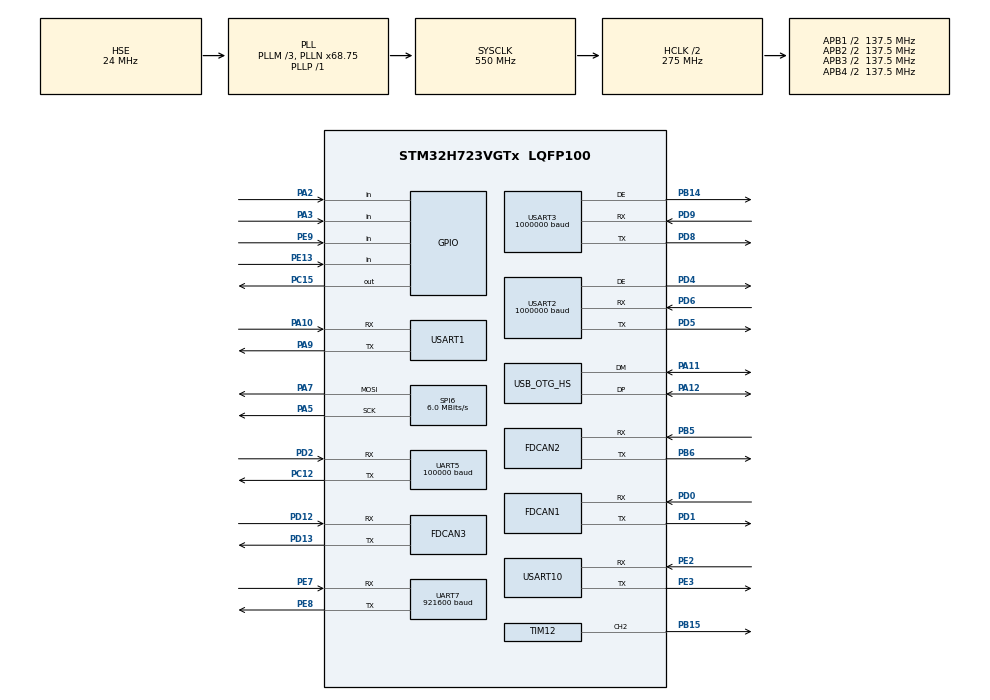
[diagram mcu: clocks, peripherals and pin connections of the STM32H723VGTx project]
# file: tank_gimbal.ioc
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CORTEX_M7.CPU_ICache=Enabled
CORTEX_M7.Enable_Spec=MPU_REGION_ENABLE
CORTEX_M7.MPU_Control=__NULL
CORTEX_M7.default_mode_Activation=1
Dma.Request0=UART5_RX
Dma.Request1=UART7_RX
Dma.Request10=USART3_TX
Dma.Request2=UART7_TX
Dma.Request3=USART1_RX
Dma.Request4=USART1_TX
Dma.Request5=USART10_RX
Dma.Request6=USART10_TX
Dma.Request7=USART2_RX
Dma.Request8=USART2_TX
Dma.Request9=USART3_RX
Dma.UART5_RX.0.Direction=DMA_PERIPH_TO_MEMORY
Dma.UART5_RX.0.EventEnable=DISABLE
Dma.UART5_RX.0.FIFOMode=DMA_FIFOMODE_DISABLE
Dma.UART5_RX.0.Instance=DMA1_Stream0
Dma.UART5_RX.0.MemDataAlignment=DMA_MDATAALIGN_BYTE
Dma.UART5_RX.0.MemInc=DMA_MINC_ENABLE
Dma.UART5_RX.0.Mode=DMA_NORMAL
Dma.UART5_RX.0.PeriphDataAlignment=DMA_PDATAALIGN_BYTE
Dma.UART5_RX.0.PeriphInc=DMA_PINC_DISABLE
Dma.UART5_RX.0.Polarity=HAL_DMAMUX_REQ_GEN_RISING
Dma.UART5_RX.0.Priority=DMA_PRIORITY_LOW
Dma.UART5_RX.0.RequestNumber=1
Dma.UART5_RX.0.SignalID=NONE
Dma.UART5_RX.0.SyncEnable=DISABLE
Dma.UART5_RX.0.SyncPolarity=HAL_DMAMUX_SYNC_NO_EVENT
Dma.UART5_RX.0.SyncRequestNumber=1
Dma.UART5_RX.0.SyncSignalID=NONE
Dma.UART7_RX.1.Direction=DMA_PERIPH_TO_MEMORY
Dma.UART7_RX.1.EventEnable=DISABLE
Dma.UART7_RX.1.FIFOMode=DMA_FIFOMODE_DISABLE
Dma.UART7_RX.1.Instance=DMA1_Stream1
Dma.UART7_RX.1.MemDataAlignment=DMA_MDATAALIGN_BYTE
Dma.UART7_RX.1.MemInc=DMA_MINC_ENABLE
Dma.UART7_RX.1.Mode=DMA_CIRCULAR
Dma.UART7_RX.1.PeriphDataAlignment=DMA_PDATAALIGN_BYTE
Dma.UART7_RX.1.PeriphInc=DMA_PINC_DISABLE
Dma.UART7_RX.1.Polarity=HAL_DMAMUX_REQ_GEN_RISING
Dma.UART7_RX.1.Priority=DMA_PRIORITY_LOW
Dma.UART7_RX.1.RequestNumber=1
Dma.UART7_RX.1.SignalID=NONE
Dma.UART7_RX.1.SyncEnable=DISABLE
Dma.UART7_RX.1.SyncPolarity=HAL_DMAMUX_SYNC_NO_EVENT
Dma.UART7_RX.1.SyncRequestNumber=1
Dma.UART7_RX.1.SyncSignalID=NONE
Dma.UART7_TX.2.Direction=DMA_MEMORY_TO_PERIPH
Dma.UART7_TX.2.EventEnable=DISABLE
Dma.UART7_TX.2.FIFOMode=DMA_FIFOMODE_DISABLE
Dma.UART7_TX.2.Instance=DMA1_Stream2
Dma.UART7_TX.2.MemDataAlignment=DMA_MDATAALIGN_BYTE
Dma.UART7_TX.2.MemInc=DMA_MINC_ENABLE
Dma.UART7_TX.2.Mode=DMA_NORMAL
Dma.UART7_TX.2.PeriphDataAlignment=DMA_PDATAALIGN_BYTE
Dma.UART7_TX.2.PeriphInc=DMA_PINC_DISABLE
Dma.UART7_TX.2.Polarity=HAL_DMAMUX_REQ_GEN_RISING
Dma.UART7_TX.2.Priority=DMA_PRIORITY_LOW
Dma.UART7_TX.2.RequestNumber=1
Dma.UART7_TX.2.SignalID=NONE
Dma.UART7_TX.2.SyncEnable=DISABLE
Dma.UART7_TX.2.SyncPolarity=HAL_DMAMUX_SYNC_NO_EVENT
Dma.UART7_TX.2.SyncRequestNumber=1
Dma.UART7_TX.2.SyncSignalID=NONE
Dma.USART10_RX.5.Direction=DMA_PERIPH_TO_MEMORY
Dma.USART10_RX.5.EventEnable=DISABLE
Dma.USART10_RX.5.FIFOMode=DMA_FIFOMODE_DISABLE
Dma.USART10_RX.5.Instance=DMA1_Stream5
Dma.USART10_RX.5.MemDataAlignment=DMA_MDATAALIGN_BYTE
Dma.USART10_RX.5.MemInc=DMA_MINC_ENABLE
Dma.USART10_RX.5.Mode=DMA_NORMAL
Dma.USART10_RX.5.PeriphDataAlignment=DMA_PDATAALIGN_BYTE
Dma.USART10_RX.5.PeriphInc=DMA_PINC_DISABLE
Dma.USART10_RX.5.Polarity=HAL_DMAMUX_REQ_GEN_RISING
Dma.USART10_RX.5.Priority=DMA_PRIORITY_LOW
Dma.USART10_RX.5.RequestNumber=1
Dma.USART10_RX.5.SignalID=NONE
Dma.USART10_RX.5.SyncEnable=DISABLE
Dma.USART10_RX.5.SyncPolarity=HAL_DMAMUX_SYNC_NO_EVENT
Dma.USART10_RX.5.SyncRequestNumber=1
Dma.USART10_RX.5.SyncSignalID=NONE
Dma.USART10_TX.6.Direction=DMA_MEMORY_TO_PERIPH
Dma.USART10_TX.6.EventEnable=DISABLE
Dma.USART10_TX.6.FIFOMode=DMA_FIFOMODE_DISABLE
Dma.USART10_TX.6.Instance=DMA1_Stream6
Dma.USART10_TX.6.MemDataAlignment=DMA_MDATAALIGN_BYTE
Dma.USART10_TX.6.MemInc=DMA_MINC_ENABLE
Dma.USART10_TX.6.Mode=DMA_NORMAL
Dma.USART10_TX.6.PeriphDataAlignment=DMA_PDATAALIGN_BYTE
Dma.USART10_TX.6.PeriphInc=DMA_PINC_DISABLE
Dma.USART10_TX.6.Polarity=HAL_DMAMUX_REQ_GEN_RISING
Dma.USART10_TX.6.Priority=DMA_PRIORITY_LOW
Dma.USART10_TX.6.RequestNumber=1
Dma.USART10_TX.6.SignalID=NONE
Dma.USART10_TX.6.SyncEnable=DISABLE
Dma.USART10_TX.6.SyncPolarity=HAL_DMAMUX_SYNC_NO_EVENT
Dma.USART10_TX.6.SyncRequestNumber=1
Dma.USART10_TX.6.SyncSignalID=NONE
Dma.USART1_RX.3.Direction=DMA_PERIPH_TO_MEMORY
Dma.USART1_RX.3.EventEnable=DISABLE
Dma.USART1_RX.3.FIFOMode=DMA_FIFOMODE_DISABLE
Dma.USART1_RX.3.Instance=DMA1_Stream3
Dma.USART1_RX.3.MemDataAlignment=DMA_MDATAALIGN_BYTE
Dma.USART1_RX.3.MemInc=DMA_MINC_ENABLE
Dma.USART1_RX.3.Mode=DMA_NORMAL
Dma.USART1_RX.3.PeriphDataAlignment=DMA_PDATAALIGN_BYTE
Dma.USART1_RX.3.PeriphInc=DMA_PINC_DISABLE
Dma.USART1_RX.3.Polarity=HAL_DMAMUX_REQ_GEN_RISING
Dma.USART1_RX.3.Priority=DMA_PRIORITY_LOW
Dma.USART1_RX.3.RequestNumber=1
Dma.USART1_RX.3.SignalID=NONE
Dma.USART1_RX.3.SyncEnable=DISABLE
Dma.USART1_RX.3.SyncPolarity=HAL_DMAMUX_SYNC_NO_EVENT
Dma.USART1_RX.3.SyncRequestNumber=1
Dma.USART1_RX.3.SyncSignalID=NONE
Dma.USART1_TX.4.Direction=DMA_MEMORY_TO_PERIPH
Dma.USART1_TX.4.EventEnable=DISABLE
Dma.USART1_TX.4.FIFOMode=DMA_FIFOMODE_DISABLE
Dma.USART1_TX.4.Instance=DMA1_Stream4
Dma.USART1_TX.4.MemDataAlignment=DMA_MDATAALIGN_BYTE
Dma.USART1_TX.4.MemInc=DMA_MINC_ENABLE
Dma.USART1_TX.4.Mode=DMA_NORMAL
Dma.USART1_TX.4.PeriphDataAlignment=DMA_PDATAALIGN_BYTE
Dma.USART1_TX.4.PeriphInc=DMA_PINC_DISABLE
Dma.USART1_TX.4.Polarity=HAL_DMAMUX_REQ_GEN_RISING
Dma.USART1_TX.4.Priority=DMA_PRIORITY_LOW
Dma.USART1_TX.4.RequestNumber=1
Dma.USART1_TX.4.SignalID=NONE
Dma.USART1_TX.4.SyncEnable=DISABLE
Dma.USART1_TX.4.SyncPolarity=HAL_DMAMUX_SYNC_NO_EVENT
Dma.USART1_TX.4.SyncRequestNumber=1
Dma.USART1_TX.4.SyncSignalID=NONE
Dma.USART2_RX.7.Direction=DMA_PERIPH_TO_MEMORY
Dma.USART2_RX.7.EventEnable=DISABLE
Dma.USART2_RX.7.FIFOMode=DMA_FIFOMODE_DISABLE
Dma.USART2_RX.7.Instance=DMA1_Stream7
Dma.USART2_RX.7.MemDataAlignment=DMA_MDATAALIGN_BYTE
Dma.USART2_RX.7.MemInc=DMA_MINC_ENABLE
Dma.USART2_RX.7.Mode=DMA_NORMAL
Dma.USART2_RX.7.PeriphDataAlignment=DMA_PDATAALIGN_BYTE
Dma.USART2_RX.7.PeriphInc=DMA_PINC_DISABLE
Dma.USART2_RX.7.Polarity=HAL_DMAMUX_REQ_GEN_RISING
Dma.USART2_RX.7.Priority=DMA_PRIORITY_LOW
Dma.USART2_RX.7.RequestNumber=1
Dma.USART2_RX.7.SignalID=NONE
Dma.USART2_RX.7.SyncEnable=DISABLE
Dma.USART2_RX.7.SyncPolarity=HAL_DMAMUX_SYNC_NO_EVENT
Dma.USART2_RX.7.SyncRequestNumber=1
Dma.USART2_RX.7.SyncSignalID=NONE
Dma.USART2_TX.8.Direction=DMA_MEMORY_TO_PERIPH
Dma.USART2_TX.8.EventEnable=DISABLE
Dma.USART2_TX.8.FIFOMode=DMA_FIFOMODE_DISABLE
Dma.USART2_TX.8.Instance=DMA2_Stream0
Dma.USART2_TX.8.MemDataAlignment=DMA_MDATAALIGN_BYTE
Dma.USART2_TX.8.MemInc=DMA_MINC_ENABLE
Dma.USART2_TX.8.Mode=DMA_NORMAL
Dma.USART2_TX.8.PeriphDataAlignment=DMA_PDATAALIGN_BYTE
Dma.USART2_TX.8.PeriphInc=DMA_PINC_DISABLE
Dma.USART2_TX.8.Polarity=HAL_DMAMUX_REQ_GEN_RISING
Dma.USART2_TX.8.Priority=DMA_PRIORITY_LOW
Dma.USART2_TX.8.RequestNumber=1
Dma.USART2_TX.8.SignalID=NONE
Dma.USART2_TX.8.SyncEnable=DISABLE
Dma.USART2_TX.8.SyncPolarity=HAL_DMAMUX_SYNC_NO_EVENT
Dma.USART2_TX.8.SyncRequestNumber=1
Dma.USART2_TX.8.SyncSignalID=NONE
Dma.USART3_RX.9.Direction=DMA_PERIPH_TO_MEMORY
Dma.USART3_RX.9.EventEnable=DISABLE
Dma.USART3_RX.9.FIFOMode=DMA_FIFOMODE_DISABLE
Dma.USART3_RX.9.Instance=DMA2_Stream1
Dma.USART3_RX.9.MemDataAlignment=DMA_MDATAALIGN_BYTE
Dma.USART3_RX.9.MemInc=DMA_MINC_ENABLE
Dma.USART3_RX.9.Mode=DMA_NORMAL
Dma.USART3_RX.9.PeriphDataAlignment=DMA_PDATAALIGN_BYTE
Dma.USART3_RX.9.PeriphInc=DMA_PINC_DISABLE
Dma.USART3_RX.9.Polarity=HAL_DMAMUX_REQ_GEN_RISING
Dma.USART3_RX.9.Priority=DMA_PRIORITY_LOW
Dma.USART3_RX.9.RequestNumber=1
Dma.USART3_RX.9.SignalID=NONE
Dma.USART3_RX.9.SyncEnable=DISABLE
Dma.USART3_RX.9.SyncPolarity=HAL_DMAMUX_SYNC_NO_EVENT
Dma.USART3_RX.9.SyncRequestNumber=1
Dma.USART3_RX.9.SyncSignalID=NONE
Dma.USART3_TX.10.Direction=DMA_MEMORY_TO_PERIPH
Dma.USART3_TX.10.EventEnable=DISABLE
Dma.USART3_TX.10.FIFOMode=DMA_FIFOMODE_DISABLE
Dma.USART3_TX.10.Instance=DMA2_Stream2
Dma.USART3_TX.10.MemDataAlignment=DMA_MDATAALIGN_BYTE
Dma.USART3_TX.10.MemInc=DMA_MINC_ENABLE
Dma.USART3_TX.10.Mode=DMA_NORMAL
Dma.USART3_TX.10.PeriphDataAlignment=DMA_PDATAALIGN_BYTE
Dma.USART3_TX.10.PeriphInc=DMA_PINC_DISABLE
Dma.USART3_TX.10.Polarity=HAL_DMAMUX_REQ_GEN_RISING
Dma.USART3_TX.10.Priority=DMA_PRIORITY_LOW
Dma.USART3_TX.10.RequestNumber=1
Dma.USART3_TX.10.SignalID=NONE
Dma.USART3_TX.10.SyncEnable=DISABLE
Dma.USART3_TX.10.SyncPolarity=HAL_DMAMUX_SYNC_NO_EVENT
Dma.USART3_TX.10.SyncRequestNumber=1
Dma.USART3_TX.10.SyncSignalID=NONE
FDCAN1.AutoRetransmission=ENABLE
FDCAN1.CalculateBaudRateNominal=1000000
FDCAN1.CalculateTimeBitNominal=1000
FDCAN1.CalculateTimeQuantumNominal=25.0
FDCAN1.DataPrescaler=3
FDCAN1.DataSyncJumpWidth=10
FDCAN1.DataTimeSeg1=29
FDCAN1.DataTimeSeg2=10
FDCAN1.NominalPrescaler=3
FDCAN1.NominalSyncJumpWidth=10
FDCAN1.NominalTimeSeg1=29
FDCAN1.NominalTimeSeg2=10
FDCAN1.RxFifo0ElmtsNbr=16
FDCAN1.StdFiltersNbr=1
FDCAN1.TxFifoQueueElmtsNbr=8
FDCAN2.AutoRetransmission=ENABLE
FDCAN2.CalculateBaudRateNominal=1000000
FDCAN2.CalculateTimeBitNominal=1000
FDCAN2.CalculateTimeQuantumNominal=25.0
FDCAN2.DataPrescaler=3
FDCAN2.DataSyncJumpWidth=10
FDCAN2.DataTimeSeg1=29
FDCAN2.DataTimeSeg2=10
FDCAN2.MessageRAMOffset=853
FDCAN2.NominalPrescaler=3
FDCAN2.NominalSyncJumpWidth=10
FDCAN2.NominalTimeSeg1=29
FDCAN2.NominalTimeSeg2=10
FDCAN2.RxFifo0ElmtsNbr=16
FDCAN2.StdFiltersNbr=1
FDCAN2.TxFifoQueueElmtsNbr=8
FDCAN3.AutoRetransmission=ENABLE
FDCAN3.CalculateBaudRateNominal=1000000
FDCAN3.CalculateTimeBitNominal=1000
FDCAN3.CalculateTimeQuantumNominal=25.0
FDCAN3.DataPrescaler=3
FDCAN3.DataSyncJumpWidth=10
FDCAN3.DataTimeSeg1=29
FDCAN3.DataTimeSeg2=10
FDCAN3.MessageRAMOffset=1706
FDCAN3.NominalPrescaler=3
FDCAN3.NominalSyncJumpWidth=10
FDCAN3.NominalTimeSeg1=29
FDCAN3.NominalTimeSeg2=10
FDCAN3.RxFifo0ElmtsNbr=16
FDCAN3.StdFiltersNbr=1
FDCAN3.TxFifoQueueElmtsNbr=8
FREERTOS.Tasks01=defaultTask,24,128,StartDefaultTask,Default,NULL,Dynamic,NULL,NULL
FREERTOS.configTOTAL_HEAP_SIZE=32768
Mcu.Family=STM32H7
Mcu.Name=STM32H723VGTx
Mcu.Package=LQFP100
NVIC.DMA1_Stream0_IRQn=true\:5\:0\:false\:false\:true\:true\:false\:true\:true
NVIC.DMA1_Stream1_IRQn=true\:5\:0\:false\:false\:true\:true\:false\:true\:true
NVIC.DMA1_Stream2_IRQn=true\:5\:0\:false\:false\:true\:true\:false\:true\:true
NVIC.DMA1_Stream3_IRQn=true\:5\:0\:false\:false\:true\:true\:false\:true\:true
NVIC.DMA1_Stream4_IRQn=true\:5\:0\:false\:false\:true\:true\:false\:true\:true
NVIC.DMA1_Stream5_IRQn=true\:5\:0\:false\:false\:true\:true\:false\:true\:true
NVIC.DMA1_Stream6_IRQn=true\:5\:0\:false\:false\:true\:true\:false\:true\:true
NVIC.DMA1_Stream7_IRQn=true\:5\:0\:false\:false\:true\:true\:false\:true\:true
NVIC.DMA2_Stream0_IRQn=true\:5\:0\:false\:false\:true\:true\:false\:true\:true
NVIC.DMA2_Stream1_IRQn=true\:5\:0\:false\:false\:true\:true\:false\:true\:true
NVIC.DMA2_Stream2_IRQn=true\:5\:0\:false\:false\:true\:true\:false\:true\:true
NVIC.FDCAN1_IT0_IRQn=true\:5\:0\:false\:false\:true\:true\:true\:true\:true
NVIC.FDCAN1_IT1_IRQn=true\:5\:0\:false\:false\:true\:true\:true\:true\:true
NVIC.FDCAN2_IT0_IRQn=true\:5\:0\:false\:false\:true\:true\:true\:true\:true
NVIC.FDCAN2_IT1_IRQn=true\:5\:0\:false\:false\:true\:true\:true\:true\:true
NVIC.FDCAN3_IT0_IRQn=true\:5\:0\:false\:false\:true\:true\:true\:true\:true
NVIC.FDCAN3_IT1_IRQn=true\:5\:0\:false\:false\:true\:true\:true\:true\:true
NVIC.OTG_HS_IRQn=true\:5\:0\:false\:false\:true\:true\:false\:true\:true
NVIC.PriorityGroup=NVIC_PRIORITYGROUP_4
NVIC.SPI6_IRQn=true\:5\:0\:false\:false\:true\:true\:true\:true\:true
NVIC.TIM23_IRQn=true\:15\:0\:false\:false\:true\:false\:false\:true\:true
NVIC.TimeBase=TIM23_IRQn
NVIC.TimeBaseIP=TIM23
NVIC.UART5_IRQn=true\:5\:0\:false\:false\:true\:true\:true\:true\:true
NVIC.UART7_IRQn=true\:5\:0\:false\:false\:true\:true\:true\:true\:true
NVIC.USART10_IRQn=true\:5\:0\:false\:false\:true\:true\:true\:true\:true
NVIC.USART1_IRQn=true\:5\:0\:false\:false\:true\:true\:true\:true\:true
NVIC.USART2_IRQn=true\:5\:0\:false\:false\:true\:true\:true\:true\:true
NVIC.USART3_IRQn=true\:5\:0\:false\:false\:true\:true\:true\:true\:true
PE13.GPIO_PuPd=GPIO_PULLDOWN
PE13.Signal=GPIO_Input
PE9.GPIO_PuPd=GPIO_PULLDOWN
PE9.Signal=GPIO_Input
PA2.GPIO_PuPd=GPIO_PULLDOWN
PA2.Signal=GPIO_Input
PA3.GPIO_PuPd=GPIO_PULLDOWN
PA3.Signal=GPIO_Input
PA10.Mode=Asynchronous
PA10.Signal=USART1_RX
PA11.Mode=Device_Only_FS
PA11.Signal=USB_OTG_HS_DM
PA12.Mode=Device_Only_FS
PA12.Signal=USB_OTG_HS_DP
PA13(JTMS/SWDIO).Mode=Serial_Wire
PA13(JTMS/SWDIO).Signal=DEBUG_JTMS-SWDIO
PA14(JTCK/SWCLK).Mode=Serial_Wire
PA14(JTCK/SWCLK).Signal=DEBUG_JTCK-SWCLK
PA5.Mode=TX_Only_Simplex_Unidirect_Master
PA5.Signal=SPI6_SCK
PA7.GPIO_PuPd=GPIO_PULLDOWN
PA7.GPIO_Speed=GPIO_SPEED_FREQ_VERY_HIGH
PA7.Mode=TX_Only_Simplex_Unidirect_Master
PA7.Signal=SPI6_MOSI
PA9.Mode=Asynchronous
PA9.Signal=USART1_TX
PB14.Mode=Hardware Flow Control (RS485)
PB14.Signal=USART3_DE
PB15.Signal=S_TIM12_CH2
PB5.Mode=FDCAN_Activate
PB5.Signal=FDCAN2_RX
PB6.Mode=FDCAN_Activate
PB6.Signal=FDCAN2_TX
PC12.Mode=Asynchronous
PC12.Signal=UART5_TX
PC15-OSC32_OUT.Signal=GPIO_Output
PD0.Mode=FDCAN_Activate
PD0.Signal=FDCAN1_RX
PD1.Mode=FDCAN_Activate
PD1.Signal=FDCAN1_TX
PD12.Mode=FDCAN_Activate
PD12.Signal=FDCAN3_RX
PD13.Mode=FDCAN_Activate
PD13.Signal=FDCAN3_TX
PD2.Mode=Asynchronous
PD2.Signal=UART5_RX
PD4.Mode=Hardware Flow Control (RS485)
PD4.Signal=USART2_DE
PD5.Mode=Asynchronous
PD5.Signal=USART2_TX
PD6.Mode=Asynchronous
PD6.Signal=USART2_RX
PD8.Mode=Asynchronous
PD8.Signal=USART3_TX
PD9.Mode=Asynchronous
PD9.Signal=USART3_RX
PE2.Mode=Asynchronous
PE2.Signal=USART10_RX
PE3.Mode=Asynchronous
PE3.Signal=USART10_TX
PE7.Mode=Asynchronous
PE7.Signal=UART7_RX
PE8.Mode=Asynchronous
PE8.Signal=UART7_TX
PH0-OSC_IN.Mode=HSE-External-Oscillator
PH0-OSC_IN.Signal=RCC_OSC_IN
PH1-OSC_OUT.Mode=HSE-External-Oscillator
PH1-OSC_OUT.Signal=RCC_OSC_OUT
ProjectManager.HeapSize=0x20000
ProjectManager.StackSize=0x10000
ProjectManager.TargetToolchain=MDK-ARM V5.32
RCC.ADCFreq_Value=240000000
RCC.APB1Freq_Value=137500000
RCC.APB2Freq_Value=137500000
RCC.APB3Freq_Value=137500000
RCC.APB4Freq_Value=137500000
RCC.CortexFreq_Value=550000000
RCC.D1PPRE=RCC_APB3_DIV2
RCC.D2PPRE1=RCC_APB1_DIV2
RCC.D2PPRE2=RCC_APB2_DIV2
RCC.D3PPRE=RCC_APB4_DIV2
RCC.DIVM1=3
RCC.DIVM2=3
RCC.DIVN1=68
RCC.DIVN2=60
RCC.DIVP1=1
RCC.DIVQ1=4
RCC.DIVQ2=4
RCC.FDCANCLockSelection=RCC_FDCANCLKSOURCE_PLL2
RCC.HCLKFreq_Value=275000000
RCC.HPRE=RCC_HCLK_DIV2
RCC.HSE_VALUE=24000000
RCC.PLLFRACN=6144
RCC.PLLSourceVirtual=RCC_PLLSOURCE_HSE
RCC.SPI6CLockSelection=RCC_SPI6CLKSOURCE_HSE
RCC.SYSCLKFreq_VALUE=550000000
RCC.SYSCLKSource=RCC_SYSCLKSOURCE_PLLCLK
RCC.USBCLockSelection=RCC_USBCLKSOURCE_HSI48
RCC.USBFreq_Value=48000000
SH.S_TIM12_CH2.0=TIM12_CH2,PWM Generation2 CH2
SPI6.BaudRatePrescaler=SPI_BAUDRATEPRESCALER_4
SPI6.CalculateBaudRate=6.0 MBits/s
SPI6.DataSize=SPI_DATASIZE_8BIT
SPI6.Direction=SPI_DIRECTION_2LINES_TXONLY
SPI6.Mode=SPI_MODE_MASTER
SPI6.VirtualType=VM_MASTER
TIM12.Channel-PWM\ Generation2\ CH2=TIM_CHANNEL_2
TIM12.Period=250-1
TIM12.Prescaler=275-1
TIM12.Pulse-PWM\ Generation2\ CH2=0
UART5.BaudRate=100000
UART5.Mode=MODE_TX_RX
UART5.Parity=PARITY_EVEN
UART5.StopBits=UART_STOPBITS_2
UART5.WordLength=WORDLENGTH_9B
UART7.BaudRate=921600
USART1.VirtualMode-Asynchronous=VM_ASYNC
USART10.VirtualMode=VM_ASYNC
USART2.BaudRate=1000000
USART2.VirtualMode-Asynchronous=VM_ASYNC
USART2.VirtualMode-Hardware\ Flow\ Control\ (RS485)=VM_ASYNC
USART3.BaudRate=1000000
USART3.VirtualMode-Asynchronous=VM_ASYNC
USART3.VirtualMode-Hardware\ Flow\ Control\ (RS485)=VM_ASYNC
USB_DEVICE.CLASS_NAME_HS=CDC
USB_DEVICE.VirtualMode=Cdc
USB_DEVICE.VirtualModeHS=Cdc_HS
USB_OTG_HS.VirtualMode-Device_Only_FS=Device_Only_FS
VP_FREERTOS_VS_CMSIS_V2.Mode=CMSIS_V2
VP_MEMORYMAP_VS_MEMORYMAP.Mode=CurAppReg
VP_SYS_VS_tim23.Mode=TIM23
VP_TIM12_VS_ClockSourceINT.Mode=Internal
VP_TIM6_VS_ClockSourceINT.Mode=Enable_Timer
VP_USB_DEVICE_VS_USB_DEVICE_CDC_HS.Mode=CDC_HS
board=custom

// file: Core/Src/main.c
/* USER CODE BEGIN Header */
/**
  ******************************************************************************
  * @file           : main.c
  * @brief          : Main program body
  ******************************************************************************
  * @attention
  *
  * Copyright (c) 2026 STMicroelectronics.
  * All rights reserved.
  *
  * This software is licensed under terms that can be found in the LICENSE file
  * in the root directory of this software component.
  * If no LICENSE file comes with this software, it is provided AS-IS.
  *
  ******************************************************************************
  */
/* USER CODE END Header */
#include "main.h"
#include "cmsis_os.h"
#include "dma.h"
#include "fdcan.h"
#include "spi.h"
#include "tim.h"
#include "usart.h"
#include "usb_device.h"
#include "gpio.h"

void SystemClock_Config(void);
void PeriphCommonClock_Config(void);
void MX_FREERTOS_Init(void);

/* USER CODE BEGIN 0 */

/* SPI6 初始化完成后调用，发送一次颜色数据，板载灯保持低亮度绿色。 */
static void Board_LED_Init(void)
{
  /* SPI6 为 6 Mbit/s，WS2812 按 G、R、B 顺序接收。 */
  uint8_t led_tx[256 + 24 + 256] = {0};
  const uint8_t led_grb[3] = {16, 0, 0};
  uint16_t led_index = 256;

  for (uint8_t color = 0; color < 3; ++color)
  {
    for (uint8_t mask = 0x80; mask != 0; mask >>= 1)
    {
      /* 每位约 1.333 us：0 高电平约 0.333 us，1 高电平约 0.833 us。 */
      led_tx[led_index++] = (led_grb[color] & mask) ? 0xF8 : 0xC0;
    }
  }
  /* 帧前、帧后各约 341 us 低电平，用于复位和锁存颜色。 */
  if (HAL_SPI_Transmit(&hspi6, led_tx, sizeof(led_tx), 20) != HAL_OK)
  {
    Error_Handler();
  }
}

/* USER CODE END 0 */

int main(void)
{

  /* Enable the CPU Cache */

  /* Enable I-Cache---------------------------------------------------------*/
  SCB_EnableICache();

  /* MCU Configuration--------------------------------------------------------*/

  /* Reset of all peripherals, Initializes the Flash interface and the Systick. */
  HAL_Init();

  /* Configure the system clock */
  SystemClock_Config();

  /* Configure the peripherals common clocks */
  PeriphCommonClock_Config();

  /* Initialize all configured peripherals */
  MX_GPIO_Init();
  MX_DMA_Init();
  MX_FDCAN1_Init();
  MX_FDCAN2_Init();
  MX_FDCAN3_Init();
  MX_TIM6_Init();
  MX_UART5_Init();
  MX_UART7_Init();
  MX_USART1_UART_Init();
  MX_USART10_UART_Init();
  MX_USART2_UART_Init();
  MX_USART3_UART_Init();
  MX_TIM12_Init();
  MX_SPI6_Init();
  /* USER CODE BEGIN 2 */
  Board_LED_Init();
  HAL_GPIO_WritePin(GPIOC, GPIO_PIN_15, GPIO_PIN_SET);

  /* USER CODE END 2 */

  /* Init scheduler */
  osKernelInitialize();  /* Call init function for freertos objects (in cmsis_os2.c) */
  MX_FREERTOS_Init();

  /* Start scheduler */
  osKernelStart();

  /* We should never get here as control is now taken by the scheduler */

  /* Infinite loop */
  while (1)
  {

  }
}

void SystemClock_Config(void)
{
  RCC_OscInitTypeDef RCC_OscInitStruct = {0};
  RCC_ClkInitTypeDef RCC_ClkInitStruct = {0};

  /** Supply configuration update enable
  */
  HAL_PWREx_ConfigSupply(PWR_LDO_SUPPLY);

  /** Configure the main internal regulator output voltage
  */
  __HAL_PWR_VOLTAGESCALING_CONFIG(PWR_REGULATOR_VOLTAGE_SCALE0);

  while(!__HAL_PWR_GET_FLAG(PWR_FLAG_VOSRDY)) {}

  /** Initializes the RCC Oscillators according to the specified parameters
  * in the RCC_OscInitTypeDef structure.
  */
  RCC_OscInitStruct.OscillatorType = RCC_OSCILLATORTYPE_HSI48|RCC_OSCILLATORTYPE_HSE;
  RCC_OscInitStruct.HSEState = RCC_HSE_ON;
  RCC_OscInitStruct.HSI48State = RCC_HSI48_ON;
  RCC_OscInitStruct.PLL.PLLState = RCC_PLL_ON;
  RCC_OscInitStruct.PLL.PLLSource = RCC_PLLSOURCE_HSE;
  RCC_OscInitStruct.PLL.PLLM = 3;
  RCC_OscInitStruct.PLL.PLLN = 68;
  RCC_OscInitStruct.PLL.PLLP = 1;
  RCC_OscInitStruct.PLL.PLLQ = 4;
  RCC_OscInitStruct.PLL.PLLR = 2;
  RCC_OscInitStruct.PLL.PLLRGE = RCC_PLL1VCIRANGE_3;
  RCC_OscInitStruct.PLL.PLLVCOSEL = RCC_PLL1VCOWIDE;
  RCC_OscInitStruct.PLL.PLLFRACN = 6144;
  if (HAL_RCC_OscConfig(&RCC_OscInitStruct) != HAL_OK)
  {
    Error_Handler();
  }

  /** Initializes the CPU, AHB and APB buses clocks
  */
  RCC_ClkInitStruct.ClockType = RCC_CLOCKTYPE_HCLK|RCC_CLOCKTYPE_SYSCLK
                              |RCC_CLOCKTYPE_PCLK1|RCC_CLOCKTYPE_PCLK2
                              |RCC_CLOCKTYPE_D3PCLK1|RCC_CLOCKTYPE_D1PCLK1;
  RCC_ClkInitStruct.SYSCLKSource = RCC_SYSCLKSOURCE_PLLCLK;
  RCC_ClkInitStruct.SYSCLKDivider = RCC_SYSCLK_DIV1;
  RCC_ClkInitStruct.AHBCLKDivider = RCC_HCLK_DIV2;
  RCC_ClkInitStruct.APB3CLKDivider = RCC_APB3_DIV2;
  RCC_ClkInitStruct.APB1CLKDivider = RCC_APB1_DIV2;
  RCC_ClkInitStruct.APB2CLKDivider = RCC_APB2_DIV2;
  RCC_ClkInitStruct.APB4CLKDivider = RCC_APB4_DIV2;

  if (HAL_RCC_ClockConfig(&RCC_ClkInitStruct, FLASH_LATENCY_3) != HAL_OK)
  {
    Error_Handler();
  }
}

void PeriphCommonClock_Config(void)
{
  RCC_PeriphCLKInitTypeDef PeriphClkInitStruct = {0};

  /** Initializes the peripherals clock
  */
  PeriphClkInitStruct.PeriphClockSelection = RCC_PERIPHCLK_FDCAN;
  PeriphClkInitStruct.PLL2.PLL2M = 3;
  PeriphClkInitStruct.PLL2.PLL2N = 60;
  PeriphClkInitStruct.PLL2.PLL2P = 2;
  PeriphClkInitStruct.PLL2.PLL2Q = 4;
  PeriphClkInitStruct.PLL2.PLL2R = 2;
  PeriphClkInitStruct.PLL2.PLL2RGE = RCC_PLL2VCIRANGE_3;
  PeriphClkInitStruct.PLL2.PLL2VCOSEL = RCC_PLL2VCOWIDE;
  PeriphClkInitStruct.PLL2.PLL2FRACN = 0;
  PeriphClkInitStruct.FdcanClockSelection = RCC_FDCANCLKSOURCE_PLL2;
  if (HAL_RCCEx_PeriphCLKConfig(&PeriphClkInitStruct) != HAL_OK)
  {
    Error_Handler();
  }
}

void HAL_TIM_PeriodElapsedCallback(TIM_HandleTypeDef *htim)
{
  if (htim->Instance == TIM23)
  {
    HAL_IncTick();
  }
}

void Error_Handler(void)
{
  __disable_irq();
  while (1)
  {
  }
}

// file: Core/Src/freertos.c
/* USER CODE BEGIN Header */
/**
  ******************************************************************************
  * File Name          : freertos.c
  * Description        : Code for freertos applications
  ******************************************************************************
  * @attention
  *
  * Copyright (c) 2026 STMicroelectronics.
  * All rights reserved.
  *
  * This software is licensed under terms that can be found in the LICENSE file
  * in the root directory of this software component.
  * If no LICENSE file comes with this software, it is provided AS-IS.
  *
  ******************************************************************************
  */
/* USER CODE END Header */

#include "FreeRTOS.h"
#include "task.h"
#include "main.h"
#include "cmsis_os.h"

/* USER CODE BEGIN Includes */
#include "can_send_task.hpp"
#include "gimbal_task.hpp"
#include "remote_control_task.hpp"
#include "gantry_task.hpp"
#include "usb_device.h"
/* USER CODE END Includes */

/* Definitions for defaultTask */
osThreadId_t defaultTaskHandle;
const osThreadAttr_t defaultTask_attributes = {
  .name = "defaultTask",
  .stack_size = 128 * 4,
  .priority = (osPriority_t) osPriorityNormal,
};

/* USER CODE BEGIN FunctionPrototypes */
TaskHandle_t xRemoteHandle;
TaskHandle_t xCanSendHandle;
TaskHandle_t xGimbalHandle;
TaskHandle_t xGantryHandle;

extern void MX_USB_DEVICE_Init(void);

/* USER CODE END FunctionPrototypes */

void StartDefaultTask(void *argument);

extern void MX_USB_DEVICE_Init(void);
void MX_FREERTOS_Init(void); /* (MISRA C 2004 rule 8.1) */

void MX_FREERTOS_Init(void) {

  /* Create the thread(s) */
  /* creation of defaultTask */
  defaultTaskHandle = osThreadNew(StartDefaultTask, NULL, &defaultTask_attributes);

  /* USER CODE BEGIN RTOS_THREADS */
  /* add threads, ... */
  /* USB is initialized by defaultTask after the scheduler starts. */
  xTaskCreate(can_send_task, "CAN_Send_Task", 2048, NULL, osPriorityAboveNormal+2, &xCanSendHandle);
  xTaskCreate(gimbal_task, "Gimbal_Task", 1024, NULL, osPriorityAboveNormal+1, &xGimbalHandle);
  xTaskCreate(remote_control_task, "Remote_Control_Task", 512, NULL, osPriorityAboveNormal, &xRemoteHandle);
  xTaskCreate(gantry_task, "Gantry_Task", 512, NULL, osPriorityAboveNormal, &xGantryHandle);

  /* USER CODE END RTOS_THREADS */

}

void StartDefaultTask(void *argument)
{
  /* init code for USB_DEVICE */
  MX_USB_DEVICE_Init();
  /* USER CODE BEGIN StartDefaultTask */
  /* Infinite loop */
  for(;;)
  {
    osThreadExit();
  }
  /* USER CODE END StartDefaultTask */
}
